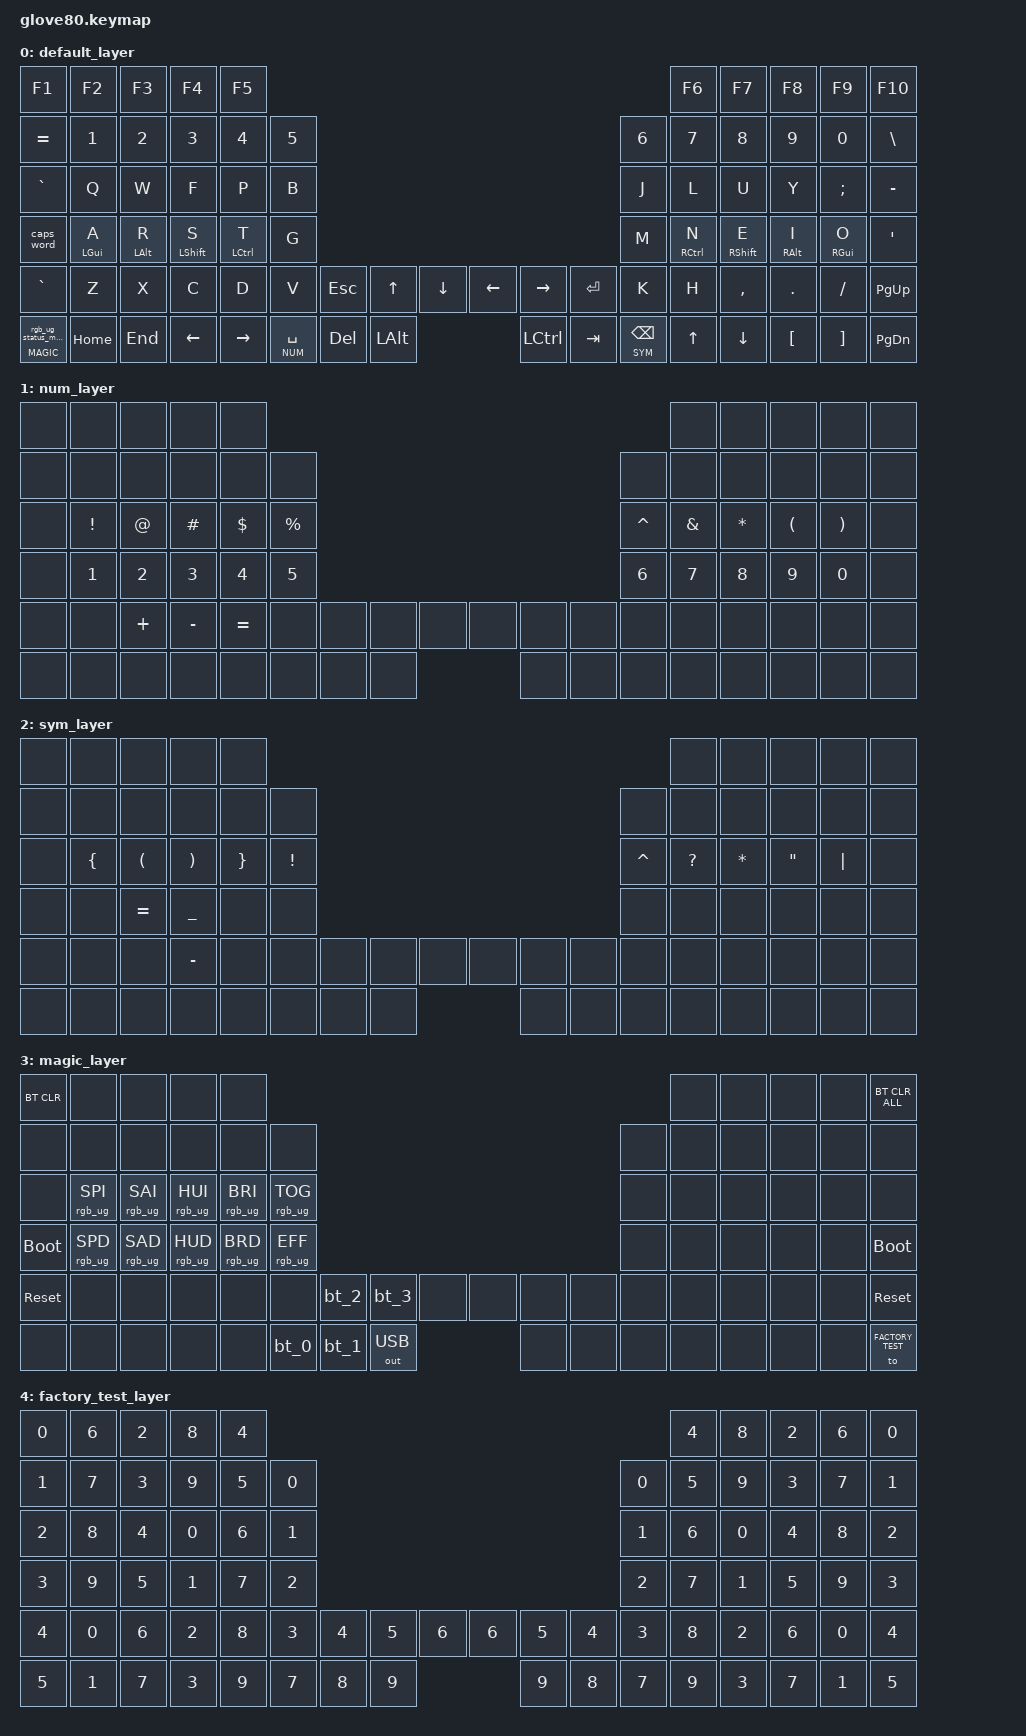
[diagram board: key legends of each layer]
/*
 * Copyright (c) 2020 The ZMK Contributors
 *
 * SPDX-License-Identifier: MIT
 */

#include <behaviors.dtsi>
#include <dt-bindings/zmk/keys.h>
#include <dt-bindings/zmk/bt.h>
#include <dt-bindings/zmk/ext_power.h>
#include <dt-bindings/zmk/outputs.h>
#include <dt-bindings/zmk/rgb.h>

#define HYPER LC(LS(LG(LALT)))

// layers
#define DEFAULT 0
#define NUM 1
#define SYM 2
#define MAGIC 3
#define FACTORY_TEST 4

&mt {
    quick-tap-ms = <200>;
    flavor = "balanced";
    tapping-term-ms = <280>;
    require-prior-idle-ms = <150>;
    hold-trigger-on-release;
};


/ {
    behaviors {
        // For the "layer" key, it'd nice to be able to use it as either a shift or a toggle.
        // Configure it as a tap dance, so the first tap (or hold) is a &mo and the second tap is a &to
        layer_td: tap_dance_0 {
            compatible = "zmk,behavior-tap-dance";
            label = "LAYER_TAP_DANCE";
            #binding-cells = <0>;
            tapping-term-ms = <200>;
            bindings = <&mo NUM>, <&to NUM>;
        };

        magic: magic_hold_tap {
            compatible = "zmk,behavior-hold-tap";
            label = "MAGIC_HOLD_TAP";
            #binding-cells = <2>;
            flavor = "tap-preferred";
            tapping-term-ms = <200>;
            bindings = <&mo>, <&rgb_ug_status_macro>;
        };
    };

    macros {
        rgb_ug_status_macro: rgb_ug_status_macro_0 {
            label = "RGB_UG_STATUS";
            compatible = "zmk,behavior-macro";
            #binding-cells = <0>;
            bindings
                = <&rgb_ug RGB_STATUS>;
        };

        bt_0: bt_profile_macro_0 {
            label = "BT_0";
            compatible = "zmk,behavior-macro";
            #binding-cells = <0>;
            bindings
                = <&out OUT_BLE>,
                  <&bt BT_SEL 0>;
        };

        bt_1: bt_profile_macro_1 {
            label = "BT_1";
            compatible = "zmk,behavior-macro";
            #binding-cells = <0>;
            bindings
                = <&out OUT_BLE>,
                  <&bt BT_SEL 1>;
        };

        bt_2: bt_profile_macro_2 {
            label = "BT_2";
            compatible = "zmk,behavior-macro";
            #binding-cells = <0>;
            bindings
                = <&out OUT_BLE>,
                  <&bt BT_SEL 2>;
        };

        bt_3: bt_profile_macro_3 {
            label = "BT_3";
            compatible = "zmk,behavior-macro";
            #binding-cells = <0>;
            bindings
                = <&out OUT_BLE>,
                  <&bt BT_SEL 3>;
        };
    };

    keymap {
        compatible = "zmk,keymap";

        default_layer {
            // ---------------------------------------------------------------------------------------------------------------------------------
            // |  F1   |  F2 |  F3 |  F4  |  F5  |                                                               |  F6   |  F7   |  F8  |   F9  |  F10 |
            // |  =    |  1  |  2  |  3   |  4   |  5   |                                                 |  6   |   7   |   8   |  9   |   0   |   -  |
            // |  TAB  |  Q  |  W  |  E   |  R   |  T   |                                                 |  Y   |   U   |   I   |  O   |   P   |   \  |
            // |  ESC  |  A  |  S  |  D   |  F   |  G   |                                                 |  H   |   J   |   K   |  L   |   ;   |   '  |
            // |   `   |  Z  |  X  |  C   |  V   |  B   | LSHFT | LCTRL | NUM | | LGUI  | RCTRL | RSHFT |  N   |   M   |   ,   |  .   |   /   | PGUP |
            // | MAGIC | HOME| END | LEFT | RIGHT|      | BSPC  | DEL   | LALT  | | RALT  | RET   | SPACE |      |  UP   | DOWN  |  [   |   ]   | PGDN |

            bindings = <
            &kp F1         &kp F2     &kp F3      &kp F4      &kp F5                                                                                                &kp F6      &kp F7      &kp F8      &kp F9      &kp F10
            &kp EQUAL      &kp N1     &kp N2      &kp N3      &kp N4      &kp N5                                                                            &kp N6  &kp N7      &kp N8      &kp N9      &kp N0      &kp BSLH
            &kp GRAVE      &kp Q      &kp W       &kp F       &kp P       &kp B                                                                             &kp J   &kp L       &kp U       &kp Y       &kp SEMI    &kp MINUS
            &caps_word     &mt LGUI A &mt LALT R  &mt LSHFT S &mt LCTRL T &kp G                                                                             &kp M   &mt RCTRL N &mt RSHFT E &mt RALT I  &mt RGUI O  &kp SQT
            &kp GRAVE      &kp Z      &kp X       &kp C       &kp D       &kp V   &kp ESC          &kp UP      &kp DOWN     &kp LEFT  &kp RIGHT &kp ENTER   &kp K   &kp H       &kp COMMA   &kp DOT     &kp FSLH    &kp PG_UP
            &magic MAGIC 0 &kp HOME   &kp END     &kp LEFT    &kp RIGHT           &lt NUM SPACE    &kp DEL     &kp LALT     &kp LCTRL &kp TAB   &lt SYM BSPC            &kp UP      &kp DOWN    &kp LBKT    &kp RBKT    &kp PG_DN
            >;
        };

        num_layer {
            bindings = <
            &none             &none               &none           &none           &none                                                                                                     &none    &none     &none                 &none                 &none
            &none             &none               &none           &none           &none           &none                                                                           &none     &none    &none     &none                 &none                 &none
            &none             &kp EXCL            &kp AT_SIGN     &kp HASH        &kp DOLLAR      &kp PERCENT                                                                     &kp CARET &kp AMPS &kp ASTRK &kp LEFT_PARENTHESIS  &kp RIGHT_PARENTHESIS &none
            &none             &kp N1              &kp N2          &kp N3          &kp N4          &kp N5                                                                          &kp N6    &kp N7   &kp N8    &kp N9                &kp N0                &none
            &none             &none               &kp PLUS        &kp MINUS       &kp EQUAL       &none        &none      &none      &none      &none      &none      &none       &none     &none    &none     &none                 &none                 &none
            &none             &none               &none           &none           &none                        &none      &none      &none      &none      &none      &none                 &none    &none     &none                 &none                 &none
            >;
        };

        sym_layer {
            bindings = <
            &none             &none               &none                  &none                 &none                                                                                                        &none             &none              &none              &none     &none
            &none             &none               &none                  &none                 &none              &none                                                                           &none     &none             &none              &none              &none     &none
            &none             &kp LEFT_BRACE      &kp LEFT_PARENTHESIS   &kp RIGHT_PARENTHESIS &kp RIGHT_BRACE    &kp EXCL                                                                        &kp CARET &kp QUESTION      &kp ASTERISK       &kp DOUBLE_QUOTES  &kp PIPE  &none
            &none             &none               &kp EQUAL              &kp UNDER             &none              &none                                                                           &none     &none             &none              &none              &none     &none
            &none             &none               &none                  &kp MINUS             &none              &none        &none      &none      &none      &none      &none      &none       &none     &none             &none              &none              &none     &none
            &none             &none               &none                  &none                 &none                           &none      &none      &none      &none      &none      &none                 &none             &none              &none              &none     &none
            >;
        };

        magic_layer {
            bindings = <
            &bt BT_CLR        &none               &none           &none           &none                                                                                                           &none      &none      &none      &none      &bt BT_CLR_ALL
            &none             &none               &none           &none           &none           &none                                                                                &none      &none      &none      &none      &none      &none
            &none             &rgb_ug RGB_SPI     &rgb_ug RGB_SAI &rgb_ug RGB_HUI &rgb_ug RGB_BRI &rgb_ug RGB_TOG                                                                      &none      &none      &none      &none      &none      &none
            &bootloader       &rgb_ug RGB_SPD     &rgb_ug RGB_SAD &rgb_ug RGB_HUD &rgb_ug RGB_BRD &rgb_ug RGB_EFF                                                                      &none      &none      &none      &none      &none      &bootloader
            &sys_reset        &none               &none           &none           &none           &none           &bt_2     &bt_3     &none            &none     &none     &none       &none      &none      &none      &none      &none      &sys_reset
            &none             &none               &none           &none           &none                           &bt_0     &bt_1     &out OUT_USB     &none     &none     &none                  &none      &none      &none      &none      &to FACTORY_TEST
            >;
        };

        factory_test_layer {
            bindings = <
            &kp N0   &kp N6   &kp N2   &kp N8   &kp N4                                                                              &kp N4   &kp N8   &kp N2   &kp N6   &kp N0
            &kp N1   &kp N7   &kp N3   &kp N9   &kp N5   &kp N0                                                            &kp N0   &kp N5   &kp N9   &kp N3   &kp N7   &kp N1
            &kp N2   &kp N8   &kp N4   &kp N0   &kp N6   &kp N1                                                            &kp N1   &kp N6   &kp N0   &kp N4   &kp N8   &kp N2
            &kp N3   &kp N9   &kp N5   &kp N1   &kp N7   &kp N2                                                            &kp N2   &kp N7   &kp N1   &kp N5   &kp N9   &kp N3
            &kp N4   &kp N0   &kp N6   &kp N2   &kp N8   &kp N3   &kp N4   &kp N5   &kp N6      &kp N6   &kp N5   &kp N4   &kp N3   &kp N8   &kp N2   &kp N6   &kp N0   &kp N4
            &kp N5   &kp N1   &kp N7   &kp N3   &kp N9            &kp N7   &kp N8   &kp N9      &kp N9   &kp N8   &kp N7            &kp N9   &kp N3   &kp N7   &kp N1   &kp N5
            >;
        };
    };
};






        // num_layer {
        //     bindings = <
        //     &none             &none               &none           &none           &none                                                                                                     &none    &none    &none    &none     &none
        //     &none             &none               &none           &none           &none           &none                                                                           &none     &none    &none    &none    &none     &none
        //     &none             &none               &none           &none           &none           &none                                                                           &none     &none    &none    &none    &none     &none
        //     &none             &none               &none           &none           &none           &none                                                                           &none     &none    &none    &none    &none     &none
        //     &none             &none               &none           &none           &none           &none        &none      &none      &none      &none      &none      &none       &none     &none    &none    &none    &none     &none
        //     &none             &none               &none           &none           &none                        &none      &none      &none      &none      &none      &none                 &none    &none    &none    &none     &none
        //     >;
        // };
